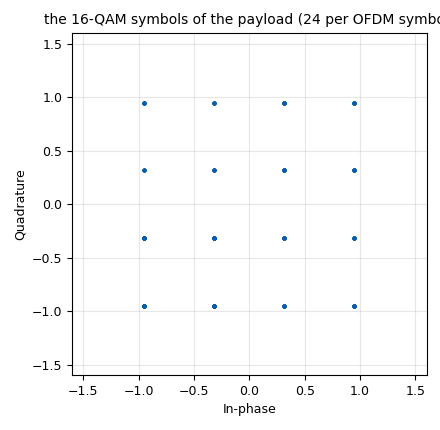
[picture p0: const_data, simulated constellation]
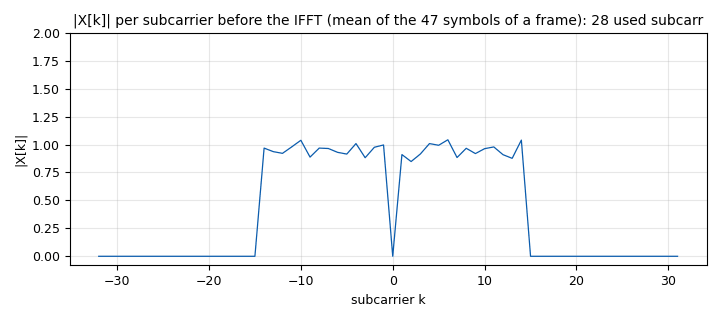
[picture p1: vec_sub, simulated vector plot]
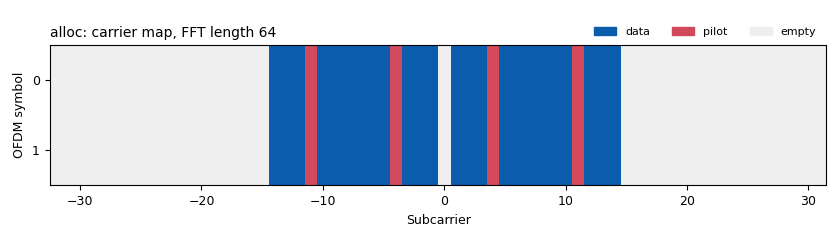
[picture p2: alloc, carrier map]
options:
  parameters:
    author: p501_fft_example
    description: 'The B210 transmits the OFDM frame of the P501 receiver (850 MHz, 3.84 MS/s) built with the stock gr-digital blocks: chunks to symbols, OFDM carrier allocator (sync words, data, pilots), IFFT, cyclic prefixer, and an idle slot added with a tagged stream mux.'
    generate_options: qt_gui
    id: ofdm_b210_frame_tx_stock
    output_language: python
    title: 'B210 transmitter: OFDM frames with the stock GNU Radio OFDM blocks'
  states: {}

blocks:
- name: samp_rate
  id: variable
  parameters:
    value: '3840000'
    comment: '3.84 MS/s: the P501''s sample rate; N = 64 subcarriers of 60 kHz'
  states: {}
- name: freq
  id: variable
  parameters:
    value: 850e6
    comment: 'carrier: the P501 receiver (notebook P501_OFDM_Live, p501_ofdm_b210.py) must use the same LO. Check the rules where you are before transmitting'
  states: {}
- name: fft_len
  id: variable
  parameters:
    value: '64'
    comment: FFT length N
  states: {}
- name: cp_len
  id: variable
  parameters:
    value: '16'
    comment: cyclic prefix, in samples
  states: {}
- name: length_tag_key
  id: variable
  parameters:
    value: '"packet_len"'
    comment: the tag that carries the length of a frame (in symbols, then in OFDM symbols, then in samples) from block to block
  states: {}
- name: occupied_carriers
  id: variable
  parameters:
    value: ([-14, -13, -12, -10, -9, -8, -7, -6, -5, -3, -2, -1, 1, 2, 3, 5, 6, 7, 8, 9, 10, 12, 13, 14],)
    comment: the 24 data subcarriers (k = -14 .. +14 without 0 and without the pilots), in the order in which the symbols are placed
  states: {}
- name: pilot_carriers
  id: variable
  parameters:
    value: ([-11, -4, 4, 11],)
    comment: the 4 pilot subcarriers
  states: {}
- name: pilot_polarity
  id: variable
  parameters:
    value: '[-1, -1, -1, -1, -1, -1, -1, 1, 1, 1, 1, 1, 1, -1, 1, 1, 1, 1, 1, -1, -1, 1, 1, 1, 1, -1, 1, -1, 1, 1, 1, -1, -1, -1, -1, 1, 1, -1, 1, 1, 1, -1, 1, -1]'
    comment: the sign of the pilots in every one of the 44 data symbols (PRBS-7 of IEEE 802.11)
  states: {}
- name: pilot_symbols
  id: variable
  parameters:
    value: tuple(tuple(p * v for v in ((0.707106781187+0.707106781187j), (0.707106781187-0.707106781187j), (-0.707106781187+0.707106781187j), (-0.707106781187-0.707106781187j))) for p in pilot_polarity)
    comment: 'the pilot values of every data symbol: QPSK times the polarity'
  states: {}
- name: sync_word1
  id: variable
  parameters:
    value: '[0j, 0j, 0j, 0j, 0j, 0j, 0j, 0j, 0j, 0j, 0j, 0j, 0j, 0j, 0j, 0j, 0j, 0j, (-1-1j), 0j, (-1+1j), 0j, (-1-1j), 0j, (-1-1j), 0j, (1+1j), 0j, (-1-1j), 0j, (-1-1j), 0j, 0j, 0j, (1+1j), 0j, (1+1j), 0j, (1-1j), 0j, (-1-1j), 0j, (-1+1j), 0j, (-1-1j), 0j, (-1+1j), 0j, 0j, 0j, 0j, 0j, 0j, 0j, 0j, 0j, 0j, 0j, 0j, 0j, 0j, 0j, 0j, 0j]'
    comment: 'the S&C symbol in the frequency domain (DC in the middle): QPSK on the even subcarriers only, zero on the odd ones: two identical halves in time'
  states: {}
- name: sync_word2
  id: variable
  parameters:
    value: '[0j, 0j, 0j, 0j, 0j, 0j, 0j, 0j, 0j, 0j, 0j, 0j, 0j, 0j, 0j, 0j, 0j, 0j, (0.707106781187-0.707106781187j), (-0.707106781187-0.707106781187j), (0.707106781187-0.707106781187j), (0.707106781187-0.707106781187j), (-0.707106781187+0.707106781187j), (-0.707106781187-0.707106781187j), (0.707106781187-0.707106781187j), (0.707106781187+0.707106781187j), (0.707106781187-0.707106781187j), (-0.707106781187+0.707106781187j), (0.707106781187+0.707106781187j), (-0.707106781187-0.707106781187j), (0.707106781187-0.707106781187j), (0.707106781187+0.707106781187j), 0j, (0.707106781187-0.707106781187j), (-0.707106781187+0.707106781187j), (0.707106781187+0.707106781187j), (-0.707106781187-0.707106781187j), (0.707106781187-0.707106781187j), (0.707106781187-0.707106781187j), (0.707106781187+0.707106781187j), (0.707106781187+0.707106781187j), (0.707106781187+0.707106781187j), (0.707106781187-0.707106781187j), (-0.707106781187+0.707106781187j), (-0.707106781187-0.707106781187j), (-0.707106781187+0.707106781187j), (-0.707106781187-0.707106781187j), 0j, 0j, 0j, 0j, 0j, 0j, 0j, 0j, 0j, 0j, 0j, 0j, 0j, 0j, 0j, 0j, 0j]'
    comment: 'the training symbol: QPSK on all 28 used subcarriers; sent twice (T1 and T2)'
  states: {}
- name: payload_nibbles
  id: variable
  parameters:
    value: '[15, 15, 15, 14, 0, 0, 0, 4, 0, 0, 1, 8, 0, 0, 5, 0, 0, 1, 14, 0, 0, 4, 4, 0, 1, 9, 8, 0, 5, 5, 0, 1, 15, 14, 0, 4, 0, 4, 1, 8, 1, 8, 5, 0, 5, 1, 14, 1, 14, 4, 4, 4, 5, 9, 9, 9, 13, 5, 5, 4, 15, 15, 15, 10, 0, 0, 1, 12, 0, 0, 4, 8, 0, 1, 11, 0, 0, 5, 10, 0, 1, 13, 12, 0, 4, 12, 8, 1, 10, 11, 0, 5, 15, 10, 1, 12, 1, 12, 4, 8, 4, 9, 11, 1, 11, 5, 10, 5, 11, 13, 13, 13, 8, 12, 12, 13, 2, 10, 10, 14, 15, 15, 14, 6, 0, 0, 5, 4, 0, 1, 15, 8, 0, 4, 1, 0, 1, 8, 6, 0, 5, 1, 4, 1, 14, 7, 8, 4, 5, 1, 1, 9, 14, 6, 5, 4, 5, 5, 15, 9, 15, 12, 1, 4, 0, 8, 7, 8, 3, 1, 1, 0, 10, 6, 6, 3, 13, 5, 4, 8, 15, 15, 11, 2, 0, 1, 10, 12, 0, 5, 14, 8, 1, 12, 7, 0, 4, 9, 2, 1, 11, 6, 12, 5, 11, 6, 9, 13, 11, 7, 4, 13, 11, 3, 10, 13, 10, 9, 14, 13, 15, 4, 6, 12, 3, 9, 6, 8, 9, 7, 7, 3, 7, 3, 2, 11, 2, 10, 15, 10, 15, 14, 1, 14, 0, 4, 4, 4, 1, 9, 9, 8, 5, 5, 5, 1, 15, 15, 14, 4, 0, 0, 5, 8, 0, 1, 13, 0, 0, 4, 14, 0, 1, 10, 4, 0, 5, 13, 8, 1, 12, 13, 0, 4, 10, 14, 1, 11, 14, 4, 5, 8, 5, 9, 13, 1, 13, 4, 14, 4, 15, 10, 5, 10, 1, 13, 13, 12, 4, 12, 12, 9, 10, 10, 11, 5, 15, 15, 11, 12, 0, 1, 8, 8, 0, 5, 3, 0, 1, 14, 10, 0, 4, 7, 12, 1, 9, 0, 8, 5, 6, 3, 1, 15, 4, 10, 4, 3, 11, 13, 8, 9, 8, 13, 3, 5, 2, 14, 11, 14, 14, 7, 8, 6, 5, 1, 1, 5, 14, 6, 7, 12, 5, 5, 0, 9, 15, 14, 3, 4, 0, 4, 11, 8, 1, 11, 9, 0, 5, 9, 6, 1, 13, 7, 4, 4, 15, 3, 9, 10, 2, 9, 5, 12, 15, 7, 12, 10, 3, 0, 11, 12, 10, 3, 8, 11, 12, 9, 3, 8, 11, 6, 9, 3, 11, 7, 6, 9, 11, 3, 7, 5, 10, 11, 3, 13, 15, 10, 8, 12, 1, 15, 2, 8, 4, 2, 15, 1, 8, 14, 2, 5, 2, 4, 13, 14, 13, 10, 12, 6, 13, 14, 9, 6, 12, 7, 7, 6, 9, 3, 3, 7, 6, 10, 11, 3, 7, 15, 10, 11, 0, 1, 15, 10, 0, 4, 1, 12, 1, 8, 4, 8, 5, 1, 11, 1, 14, 5, 10, 4, 5, 13, 13, 9, 12, 12, 13, 4, 10, 10, 15, 11, 15, 14, 1, 8, 0, 4, 5, 0, 1, 9, 14, 0, 5, 4, 4, 1, 15, 9, 8, 4, 1, 5, 1, 8, 7, 14, 5, 1, 0, 5, 14, 6, 1, 12, 5, 4, 4, 9, 15, 9, 11, 4, 1, 5, 11, 8, 7, 13, 9, 1, 0, 13, 6, 6, 2, 15, 5, 4, 14, 3, 15, 10, 4, 8, 1, 13, 11, 0, 4, 13, 10, 1, 10, 13, 12, 5, 14, 12, 9, 12, 6, 11, 4, 9, 7, 11, 11, 7, 1, 9, 11, 2, 5, 5, 10, 13, 15, 13, 14, 12, 0, 12, 6, 8, 2, 9, 7, 0, 15, 7, 2, 2, 3, 2, 12, 12, 10, 14, 10, 11, 14, 7, 15, 8, 5, 0, 1, 1, 14, 0, 6, 4, 4, 1, 5, 9, 8, 7, 13, 5, 1, 0, 15, 14, 6, 2, 0, 5, 4, 12, 1, 15, 10, 8, 4, 1, 15, 1, 8, 4, 2, 5, 1, 8, 13, 14, 5, 2, 12, 5, 14, 14, 9, 12, 6, 7, 4, 9, 5, 3, 11, 7, 14, 9, 11, 0, 7, 5, 10, 1, 3, 13, 12, 6, 8, 12, 9, 7, 2, 11, 7, 2, 15, 11, 2, 14, 1, 10, 14, 4, 5, 14, 5, 9, 12, 5, 13, 4, 9, 12, 15, 11, 4, 10, 1, 11, 11, 12, 5, 9, 8, 9, 13, 5, 3, 4, 15, 14, 11, 10, 0, 7, 9, 12, 1, 1, 4, 8, 6, 7, 11, 1, 5, 1, 10, 7, 14, 5, 13, 0, 5, 12, 14, 1, 12, 10, 4, 4, 11, 13, 9, 11, 8, 13, 5, 9, 2, 15, 13, 6, 14, 0, 15, 6, 4, 2, 3, 5, 8, 12, 11, 13, 2, 11, 8, 14, 15, 9, 2, 6, 1, 6, 13, 4, 7, 6, 15, 9, 3, 6, 1, 6, 11, 4, 7, 7, 11, 9, 3, 1, 9, 6, 10, 5, 7, 7, 13, 15, 3, 0, 12, 2, 10, 2, 8, 15, 12, 15, 2, 0, 10, 2, 12, 3, 12, 14, 8, 8, 10, 7, 3, 3, 13, 2, 10, 8, 14, 15, 15, 2, 6, 0, 2, 13, 4, 0, 14, 15, 8, 2, 6, 1, 0, 13, 4, 6, 2, 15, 9, 4, 14, 1, 7, 10, 4, 7, 1, 13, 9, 2, 4, 13, 6, 13, 10, 15, 6, 13, 14, 3, 6, 12, 4, 11, 6, 9, 11, 11, 7, 5, 9, 11, 3, 13, 5, 10, 8, 15, 13, 15, 2, 0, 12, 2, 12, 2, 8, 14, 8, 15, 2, 7, 2, 2, 13, 2, 12, 14, 14, 14, 10, 6, 6, 7, 13, 5, 5, 0, 15, 15, 14, 2, 0, 0, 4, 12, 0, 1, 10, 8, 0, 5, 15, 0, 1, 12, 2, 0, 4, 8, 12, 1, 11, 2, 8, 5, 10, 15, 1, 13, 14, 2, 4, 12, 4, 13, 10, 9, 10, 13, 15, 5, 14, 12, 3, 12, 6, 8, 8, 9, 7, 3, 3, 7, 2, 10, 11, 2, 15, 15, 10, 14, 0, 1, 14, 4, 0, 4, 5, 8, 1, 9, 13, 0, 5, 4, 14, 1, 15, 10, 4, 4, 1, 13, 9, 8, 4, 13, 5, 1, 10, 15, 14, 5]'
    comment: 'the payload of one frame: 44 symbols x 24 subcarriers = 1056 numbers of 4 bits (the PRBS-15 of the other transmitter and of the receivers'' error counters, restarted in every frame)'
  states: {}
- name: payload_points
  id: variable
  parameters:
    value: '[((-3, -1, 3, 1)[i >> 2] + 1j * (-3, -1, 3, 1)[i & 3]) / 10 ** 0.5 for i in range(16)]'
    comment: '16-QAM with the Gray code of the receivers: index i = 4 I + Q, the levels -3 -1 3 1 for the Gray codes 00 01 10 11, unit average power'
  states: {}
- name: tx_scale
  id: variable
  parameters:
    value: tx_amp / (8 * 0.668651)
    comment: 'the IFFT of GNU Radio has no 1/N: its output is 8 times the model''s frame, whose rms over the 3760 active samples is 0.6687; this makes the rms of the active part tx_amp'
  states: {}
- name: tabs
  id: qtgui_tab_widget
  parameters:
    num_tabs: '4'
    label0: 1 Data symbols
    label1: 2 Subcarriers
    label2: 3 Frame in time
    label3: 4 Spectrum
    gui_hint: 2,0,1,4
    comment: one tab per stage of the transmitter
  states: {}
- name: tx_on
  id: variable_qtgui_chooser
  parameters:
    comment: OFF at start. Switch ON when the receiver is ready.
    gui_hint: 0,0,1,1
    label: Transmit (B210 TX/RX port)
    label0: 'OFF'
    label1: 'ON'
    num_opts: '2'
    option0: '0'
    option1: '1'
    type: int
    value: '0'
    widget: radio_buttons
  states: {}
- name: tx_gain
  id: variable_qtgui_range
  parameters:
    comment: 'very low power: antennas a few centimetres apart. In the gain sweep of REPORT_OFDM.md the B210 did not compress up to 85 dB at an rms of 0.25; 79 dB gave 26 dB SNR, 72 dB 21 to 23 dB. Lower it to see where the decoding stops'
    gui_hint: 0,1,1,3
    label: B210 TX gain (dB)
    start: '0'
    step: '1'
    stop: '86'
    value: '79'
  states: {}
- name: tx_amp
  id: variable_qtgui_range
  parameters:
    comment: 'OFDM peaks are 3.4 x the RMS: 0.25 gives peaks of 0.85 of full scale; 0.29 is the limit'
    gui_hint: 1,0,1,4
    label: TX digital amplitude (RMS of the active part)
    start: '0'
    step: '0.01'
    stop: '0.29'
    value: '0.25'
  states: {}
- name: payload_src
  id: blocks_vector_source_x
  parameters:
    type: byte
    vector: payload_nibbles
    repeat: 'True'
    comment: 'STOCK: the 1056 symbols of one frame, repeated forever'
  states: {}
- name: to_frame
  id: blocks_stream_to_tagged_stream
  parameters:
    type: byte
    packet_len: len(payload_nibbles)
    len_tag_key: length_tag_key
    comment: 'STOCK: cuts the stream into frames of 1056 symbols and tags the length'
  states: {}
- name: mapper
  id: digital_chunks_to_symbols_xx
  parameters:
    in_type: byte
    out_type: complex
    symbol_table: payload_points
    dimension: '1'
    comment: 'STOCK: number 0 .. 15 -> 16-QAM point'
  states: {}
- name: alloc
  id: digital_ofdm_carrier_allocator_cvc
  parameters:
    fft_len: fft_len
    len_tag_key: length_tag_key
    occupied_carriers: occupied_carriers
    output_is_shifted: 'True'
    pilot_carriers: pilot_carriers
    pilot_symbols: pilot_symbols
    sync_words: (sync_word1, sync_word2, sync_word2)
    comment: 'STOCK BLOCK: carrier allocator. First the three sync words (S&C, T1, T2), then the data: 24 values to the 24 data subcarriers, the pilots on 4 more, zeros elsewhere; one vector of 64 per OFDM symbol, 47 per frame'
  states: {}
- name: ifft
  id: fft_vxx
  parameters:
    type: complex
    fft_size: fft_len
    forward: 'False'
    window: ()
    shift: 'True'
    comment: 'STOCK: inverse FFT of every OFDM symbol (shift: the subcarrier k is in the bin k + 32). No 1/N'
  states: {}
- name: cp
  id: digital_ofdm_cyclic_prefixer
  parameters:
    input_size: fft_len
    cp_len: cp_len
    tagname: length_tag_key
    minoutbuf: '32768'
    comment: 'STOCK BLOCK: copies the last 16 samples of every symbol in front of it: 80 samples per symbol, 3760 per frame. Its output buffer must hold a whole frame (3760 samples): minimum output buffer 32768 (8192 was not enough), without it the block stops with ''Buffer too small for min_noutput_items'''
  states: {}
- name: idle_src
  id: analog_const_source_x
  parameters:
    type: complex
    const: '0'
    comment: 'the idle slot: 80 zeros'
  states: {}
- name: idle_tag
  id: blocks_stream_to_tagged_stream
  parameters:
    type: complex
    packet_len: fft_len + cp_len
    len_tag_key: length_tag_key
    comment: 'STOCK: 80 samples = one symbol of silence'
  states: {}
- name: mux
  id: blocks_tagged_stream_mux
  parameters:
    lengthtagname: length_tag_key
    ninputs: '2'
    type: complex
    minoutbuf: '32768'
    comment: 'STOCK: frame (3760) followed by the idle slot (80) = 3840 samples = 1 ms (minimum output buffer 32768 for the same reason)'
  states: {}
- name: scale
  id: blocks_multiply_const_vxx
  parameters:
    type: complex
    const: tx_scale * tx_on
    comment: 1 / 8 and the amplitude, and the ON/OFF switch
  states: {}
- name: gate
  id: blocks_tag_gate
  parameters:
    type: complex
    propagate_tags: 'False'
    comment: removes the length tags before the B210 (the sink does not need them)
  states: {}
- name: uhd_usrp_sink_0
  id: uhd_usrp_sink
  parameters:
    ant0: TX/RX
    center_freq0: freq
    comment: the B210 transmitter (TX/RX port); the B210 must be the only program using it
    dev_addr: ''
    dev_args: num_send_frames=128,num_recv_frames=128,send_frame_size=16360,recv_frame_size=16360
    gain0: tx_gain
    samp_rate: samp_rate
    sync: sync
    type: fc32
  states: {}
- name: const_data
  id: qtgui_const_sink_x
  parameters:
    grid: 'True'
    gui_hint: tabs@0:0,0,1,1
    label1: symbols
    legend: 'False'
    name: '"the 16-QAM symbols of the payload (24 per OFDM symbol)"'
    size: '1056'
    type: complex
    update_time: '0.1'
    xmax: '1.6'
    xmin: '-1.6'
    ymax: '1.6'
    ymin: '-1.6'
  states: {}
- name: v_mag
  id: blocks_complex_to_mag
  parameters:
    vlen: '64'
  states: {}
- name: v_avg
  id: blocks_moving_average_xx
  parameters:
    type: float
    length: '47'
    scale: 1.0 / 47
    max_iter: '4000'
    vlen: '64'
    comment: the mean |X[k]| over the 47 OFDM symbols of a frame
  states: {}
- name: vec_sub
  id: qtgui_vector_sink_f
  parameters:
    name: '"|X[k]| per subcarrier before the IFFT (mean of the 47 symbols of a frame): 28 used subcarriers, the pilots and the sync words are in it"'
    vlen: '64'
    x_start: '-32'
    x_step: '1'
    x_axis_label: '"subcarrier k"'
    y_axis_label: '"|X[k]|"'
    ymin: '0'
    ymax: '2'
    gui_hint: tabs@1:0,0,1,1
    update_time: '0.1'
    grid: 'True'
  states: {}
- name: x_mag
  id: blocks_complex_to_mag
  parameters: {}
  states: {}
- name: time_sink
  id: qtgui_time_sink_x
  parameters:
    autoscale: 'True'
    entags: 'False'
    grid: 'True'
    gui_hint: tabs@2:0,0,1,1
    label1: '"|x|"'
    legend: 'False'
    name: '"the frame as the B210 sends it: |x| (two frames of 3840 samples = 1 ms each; the gap is the idle slot)"'
    size: '8192'
    srate: samp_rate
    type: float
    update_time: '0.1'
    ymax: '1.0'
    ymin: '0'
  states: {}
- name: freq_sink
  id: qtgui_freq_sink_x
  parameters:
    average: '0.2'
    bw: samp_rate
    fc: '0'
    fftsize: '2048'
    grid: 'True'
    gui_hint: tabs@3:0,0,1,1
    label1: TX
    legend: 'False'
    name: '"spectrum sent to the B210: 28 subcarriers of 60 kHz = 1.7 MHz"'
    type: complex
    update_time: '0.1'
    ymax: '20'
    ymin: '-100'
  states: {}

connections:
- [payload_src, '0', to_frame, '0']
- [to_frame, '0', mapper, '0']
- [mapper, '0', alloc, '0']
- [alloc, '0', ifft, '0']
- [ifft, '0', cp, '0']
- [cp, '0', mux, '0']
- [idle_src, '0', idle_tag, '0']
- [idle_tag, '0', mux, '1']
- [mux, '0', scale, '0']
- [scale, '0', gate, '0']
- [gate, '0', uhd_usrp_sink_0, '0']
- [mapper, '0', const_data, '0']
- [alloc, '0', v_mag, '0']
- [v_mag, '0', v_avg, '0']
- [v_avg, '0', vec_sub, '0']
- [scale, '0', x_mag, '0']
- [x_mag, '0', time_sink, '0']
- [scale, '0', freq_sink, '0']

metadata:
  file_format: 1
  grc_version: 3.10.12.0
